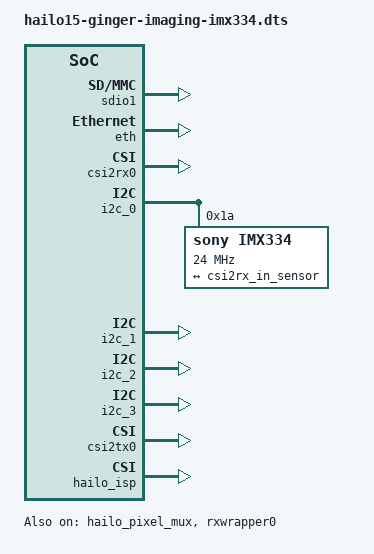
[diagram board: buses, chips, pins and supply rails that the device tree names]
// SPDX-License-Identifier:     GPL-2.0
/*
 * Copyright (c) 2019-2023 Hailo Technologies Ltd. All rights reserved.
 */

/dts-v1/;

#include "hailo15-ginger-imaging.dtsi"

&sdio1 {
    status = "okay";
    8-bit-mux-mode;
};

&eth {
    status = "okay";
};

&csi2rx0 {
    status = "okay";
};

&i2c_0 {
    status = "okay";
    imx334: camera-sensor@1a {
        status = "okay";
        compatible = "sony,imx334";
        reg = <0x1a>;
        clocks = <&sensor_clk>;
        clock-names = "inclk";
        clock-frequency = <24000000>;
        csi-id = <0>;

        port {
            sensor_out_csi2rx: endpoint {
                data-lanes = <1 2 3 4>;
                remote-endpoint = <&csi2rx_in_sensor>;
		link-frequencies = /bits/ 64 <891000000>;
            };
        };
     };
};

&i2c_1 {
    status = "okay";
};

&i2c_2 {
    status = "okay";
};

&i2c_3 {
    status = "okay";
};

&csi2tx0 {
    status = "okay";
};

&hailo_isp {
    status = "okay";
};

&hailo_pixel_mux {
    status = "okay";
};

&rxwrapper0 {
    status = "okay";
};
